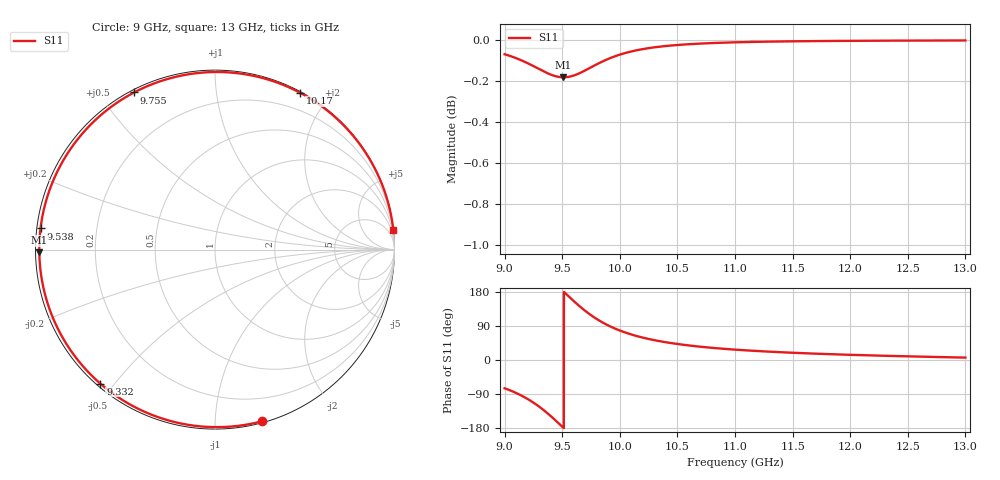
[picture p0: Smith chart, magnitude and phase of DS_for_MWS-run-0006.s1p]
! TOUCHSTONE file generated by CST DESIGN STUDIO
! Date and time: Tue Feb  4 15:48:31 2025
! Project name: C:\Work\MatlabApps\UnitCellOptimizationMatlab\CST\unitcell.cst
! Tree item: Tasks\Sweep1\SPara1\S-Parameters
! Header version: 2024
! Port assignment regex: !\s*Touchstone port\s*([0-9]+)\s*=\s*(CST MWS port|CST DES external port|CST DES block port)\s*(.+)\s* \(\"(.*)\"\)(\s*mode\s*([0-9]+))?.*
! Touchstone port assignment:
! Touchstone port 1 = CST DES external port 1 ("")
# GHz S MA R 50
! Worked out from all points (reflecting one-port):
!   4001 points, 9 GHz to 13 GHz, reference 50 ohm
!   lowest |S11| = -0.2 dB at 9.511 GHz (marker M1), VSWR 94.94, Z = 0.527 - j0.392 ohm
!   phase of S11 starts at -75 deg and turns -279 deg over the sweep
!   S11 on the Smith chart (normalised r, x): 9 GHz: 0.01, -1.31; 9.332 GHz: 0.01, -0.46; 9.538 GHz: 0.01, +0.06; 9.755 GHz: 0.01, +0.61; 10.17 GHz: 0.01, +1.68; 13 GHz: 0, +18
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9  0.9919 -74.6
9.089  0.99 -85.5
9.192  0.9872 -101.5
9.265  0.9848 -115.5
9.332  0.9826 -130.5
9.377  0.9812 -141.7
9.424  0.9801 -154.3
9.463  0.9795 -165.3
9.5  0.9792 -175.9
9.511  0.9792 -179.1
9.538  0.9792 173.1
9.592  0.98 157.7
9.652  0.9814 141.5
9.703  0.983 128.9
9.755  0.9848 117.2
9.806  0.9865 107.0
9.862  0.9882 97.1
10  0.9917 77.8
10.081  0.9931 69.1
10.168  0.9944 61.5
10.319  0.9959 51.2
10.5  0.997 42.2
10.722  0.9979 34.3
11  0.9985 27.4
11.5  0.9991 19.1
12  0.9993 13.7
12.5  0.9995 9.6
13  0.9996 6.3
